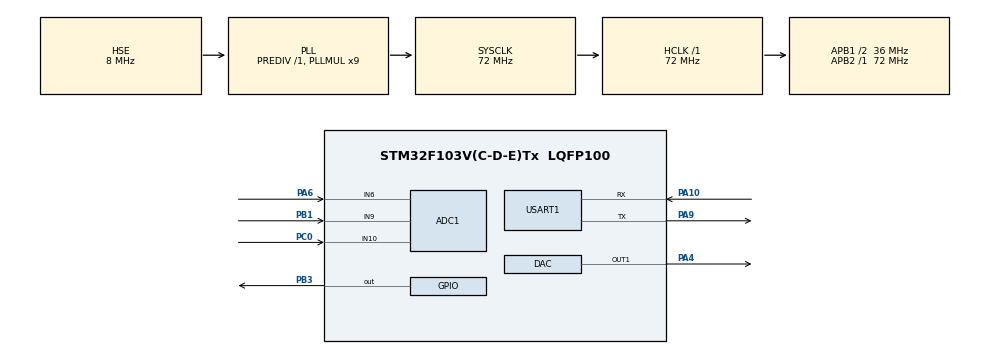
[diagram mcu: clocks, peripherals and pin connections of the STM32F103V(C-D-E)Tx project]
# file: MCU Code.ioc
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ADC1.Channel-0\#ChannelRegularConversion=ADC_CHANNEL_6
ADC1.Channel-1\#ChannelRegularConversion=ADC_CHANNEL_9
ADC1.Channel-2\#ChannelRegularConversion=ADC_CHANNEL_10
ADC1.ContinuousConvMode=ENABLE
ADC1.NbrOfConversion=3
ADC1.NbrOfConversionFlag=1
ADC1.Rank-0\#ChannelRegularConversion=1
ADC1.Rank-1\#ChannelRegularConversion=2
ADC1.Rank-2\#ChannelRegularConversion=3
ADC1.SamplingTime-0\#ChannelRegularConversion=ADC_SAMPLETIME_1CYCLE_5
ADC1.SamplingTime-1\#ChannelRegularConversion=ADC_SAMPLETIME_1CYCLE_5
ADC1.SamplingTime-2\#ChannelRegularConversion=ADC_SAMPLETIME_1CYCLE_5
ADC1.master=1
DAC.DAC_Trigger=DAC_TRIGGER_T6_TRGO
Dma.ADC1.1.Direction=DMA_PERIPH_TO_MEMORY
Dma.ADC1.1.Instance=DMA1_Channel1
Dma.ADC1.1.MemDataAlignment=DMA_MDATAALIGN_WORD
Dma.ADC1.1.MemInc=DMA_MINC_ENABLE
Dma.ADC1.1.Mode=DMA_CIRCULAR
Dma.ADC1.1.PeriphDataAlignment=DMA_PDATAALIGN_HALFWORD
Dma.ADC1.1.PeriphInc=DMA_PINC_DISABLE
Dma.ADC1.1.Priority=DMA_PRIORITY_HIGH
Dma.DAC_CH1.0.Direction=DMA_MEMORY_TO_PERIPH
Dma.DAC_CH1.0.Instance=DMA2_Channel3
Dma.DAC_CH1.0.MemDataAlignment=DMA_MDATAALIGN_HALFWORD
Dma.DAC_CH1.0.MemInc=DMA_MINC_ENABLE
Dma.DAC_CH1.0.Mode=DMA_CIRCULAR
Dma.DAC_CH1.0.PeriphDataAlignment=DMA_PDATAALIGN_HALFWORD
Dma.DAC_CH1.0.PeriphInc=DMA_PINC_DISABLE
Dma.DAC_CH1.0.Priority=DMA_PRIORITY_HIGH
Dma.Request0=DAC_CH1
Dma.Request1=ADC1
Mcu.Family=STM32F1
Mcu.Name=STM32F103V(C-D-E)Tx
Mcu.Package=LQFP100
NVIC.PriorityGroup=NVIC_PRIORITYGROUP_4
NVIC.USART1_IRQn=true\:0\:0\:false\:false\:true\:true\:true
OSC_IN.Mode=HSE-External-Oscillator
OSC_IN.Signal=RCC_OSC_IN
OSC_OUT.Mode=HSE-External-Oscillator
OSC_OUT.Signal=RCC_OSC_OUT
PA10.Mode=Asynchronous
PA10.Signal=USART1_RX
PA13.Mode=Serial_Wire
PA13.Signal=SYS_JTMS-SWDIO
PA14.Mode=Serial_Wire
PA14.Signal=SYS_JTCK-SWCLK
PA4.Signal=COMP_DAC1_group
PA6.Signal=ADCx_IN6
PA9.Mode=Asynchronous
PA9.Signal=USART1_TX
PB1.Signal=ADCx_IN9
PB3.GPIO_PuPd=GPIO_PULLDOWN
PB3.GPIO_Speed=GPIO_SPEED_FREQ_MEDIUM
PB3.Signal=GPIO_Output
PC0.Signal=ADCx_IN10
ProjectManager.HeapSize=0x200
ProjectManager.StackSize=0x400
ProjectManager.TargetToolchain=MDK-ARM V5.27
RCC.ADCPresc=RCC_ADCPCLK2_DIV6
RCC.AHBFreq_Value=72000000
RCC.APB1CLKDivider=RCC_HCLK_DIV2
RCC.APB1Freq_Value=36000000
RCC.APB1TimFreq_Value=72000000
RCC.APB2Freq_Value=72000000
RCC.APB2TimFreq_Value=72000000
RCC.HCLKFreq_Value=72000000
RCC.PLLMUL=RCC_PLL_MUL9
RCC.PLLSourceVirtual=RCC_PLLSOURCE_HSE
RCC.SYSCLKFreq_VALUE=72000000
RCC.SYSCLKSource=RCC_SYSCLKSOURCE_PLLCLK
RCC.USBFreq_Value=72000000
SH.ADCx_IN10.0=ADC1_IN10,IN10
SH.ADCx_IN6.0=ADC1_IN6,IN6
SH.ADCx_IN9.0=ADC1_IN9,IN9
SH.COMP_DAC1_group.0=DAC_OUT1,DAC_OUT1
TIM6.Period=1499
TIM6.Prescaler=0
TIM6.TIM_MasterOutputTrigger=TIM_TRGO_UPDATE
USART1.VirtualMode=VM_ASYNC
VP_TIM6_VS_ClockSourceINT.Mode=Enable_Timer
board=custom

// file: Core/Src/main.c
/* USER CODE BEGIN Header */
/**
  ******************************************************************************
  * @file           : main.c
  * @brief          : Main program body
  ******************************************************************************
  * @attention
  *
  * <h2><center>&copy; Copyright (c) 2021 STMicroelectronics.
  * All rights reserved.</center></h2>
  *
  * This software component is licensed by ST under BSD 3-Clause license,
  * the "License"; You may not use this file except in compliance with the
  * License. You may obtain a copy of the License at:
  *                        opensource.org/licenses/BSD-3-Clause
  *
  ******************************************************************************
  */
/* USER CODE END Header */
#include "main.h"
#include "adc.h"
#include "dac.h"
#include "dma.h"
#include "tim.h"
#include "usart.h"
#include "gpio.h"

/* USER CODE BEGIN Includes */

#include "bsp_dataManage.h"

/* USER CODE END Includes */

/* USER CODE BEGIN PV */
uint8_t receiveStrBuffer[100];
uint8_t pReceiveStrBuffer = 0;
uint8_t isReceiveFlag = 0;

uint8_t pADC_MaxValue;
uint32_t ADC_ReceiveData[3]; //16进制，寄存器内的值
uint32_t ADC_MaxValue[3];
float ADC_Vol[3];           //10进制，实际电压，便于阅读;  ADC_Vol =(float) ADC_ReceiveData/4096*(float)3.3
uint32_t samplingTimes = 0; //

/* USER CODE END PV */

void SystemClock_Config(void);

/* USER CODE BEGIN 0 */

void HAL_UART_RxCpltCallback(UART_HandleTypeDef *huart)
{
    pReceiveStrBuffer++;
    HAL_UART_Receive_IT(huart, &receiveStrBuffer[pReceiveStrBuffer], 1);
    if (receiveStrBuffer[pReceiveStrBuffer - 1] == '\n')
    {
        isReceiveFlag = 1;
        receiveStrBuffer[pReceiveStrBuffer] = '\0';
    }
}

/* USER CODE END 0 */

int main(void)
{

    /* MCU Configuration--------------------------------------------------------*/

    /* Reset of all peripherals, Initializes the Flash interface and the Systick. */
    HAL_Init();

    /* Configure the system clock */
    SystemClock_Config();

    /* Initialize all configured peripherals */
    MX_GPIO_Init();
    MX_DMA_Init();
    MX_DAC_Init();
    MX_USART1_UART_Init();
    MX_TIM6_Init();
    MX_ADC1_Init();
    /* USER CODE BEGIN 2 */
    HAL_TIM_Base_Start(&htim6);
    HAL_UART_Receive_IT(&huart1, receiveStrBuffer, 1);
    HAL_DAC_Start_DMA(&hdac, DAC_CHANNEL_1, (uint32_t *)Sine12bit, POINT_NUM, DAC_ALIGN_12B_R);
    sinFrequencyAdjust(1000);
    HAL_ADC_Start_DMA(&hadc1, ADC_ReceiveData, 3);
    /* USER CODE END 2 */

    /* Infinite loop */
    /* USER CODE BEGIN WHILE */
    while (1)
    {
        if (isReceiveFlag == 1)
        {
            isReceiveFlag = 0;
            printf("%s", receiveStrBuffer);
            pReceiveStrBuffer = 0;
        }

        getADC_MaxValue();

        /* USER CODE END WHILE */

    }
}

void SystemClock_Config(void)
{
    RCC_OscInitTypeDef RCC_OscInitStruct = {0};
    RCC_ClkInitTypeDef RCC_ClkInitStruct = {0};
    RCC_PeriphCLKInitTypeDef PeriphClkInit = {0};

    /** Initializes the RCC Oscillators according to the specified parameters
  * in the RCC_OscInitTypeDef structure.
  */
    RCC_OscInitStruct.OscillatorType = RCC_OSCILLATORTYPE_HSE;
    RCC_OscInitStruct.HSEState = RCC_HSE_ON;
    RCC_OscInitStruct.HSEPredivValue = RCC_HSE_PREDIV_DIV1;
    RCC_OscInitStruct.HSIState = RCC_HSI_ON;
    RCC_OscInitStruct.PLL.PLLState = RCC_PLL_ON;
    RCC_OscInitStruct.PLL.PLLSource = RCC_PLLSOURCE_HSE;
    RCC_OscInitStruct.PLL.PLLMUL = RCC_PLL_MUL9;
    if (HAL_RCC_OscConfig(&RCC_OscInitStruct) != HAL_OK)
    {
        Error_Handler();
    }
    /** Initializes the CPU, AHB and APB buses clocks
  */
    RCC_ClkInitStruct.ClockType = RCC_CLOCKTYPE_HCLK | RCC_CLOCKTYPE_SYSCLK | RCC_CLOCKTYPE_PCLK1 | RCC_CLOCKTYPE_PCLK2;
    RCC_ClkInitStruct.SYSCLKSource = RCC_SYSCLKSOURCE_PLLCLK;
    RCC_ClkInitStruct.AHBCLKDivider = RCC_SYSCLK_DIV1;
    RCC_ClkInitStruct.APB1CLKDivider = RCC_HCLK_DIV2;
    RCC_ClkInitStruct.APB2CLKDivider = RCC_HCLK_DIV1;

    if (HAL_RCC_ClockConfig(&RCC_ClkInitStruct, FLASH_LATENCY_2) != HAL_OK)
    {
        Error_Handler();
    }
    PeriphClkInit.PeriphClockSelection = RCC_PERIPHCLK_ADC;
    PeriphClkInit.AdcClockSelection = RCC_ADCPCLK2_DIV6;
    if (HAL_RCCEx_PeriphCLKConfig(&PeriphClkInit) != HAL_OK)
    {
        Error_Handler();
    }
}

void Error_Handler(void)
{
    __disable_irq();
    while (1)
    {
    }
}

/************************ (C) COPYRIGHT STMicroelectronics *****END OF FILE****/
